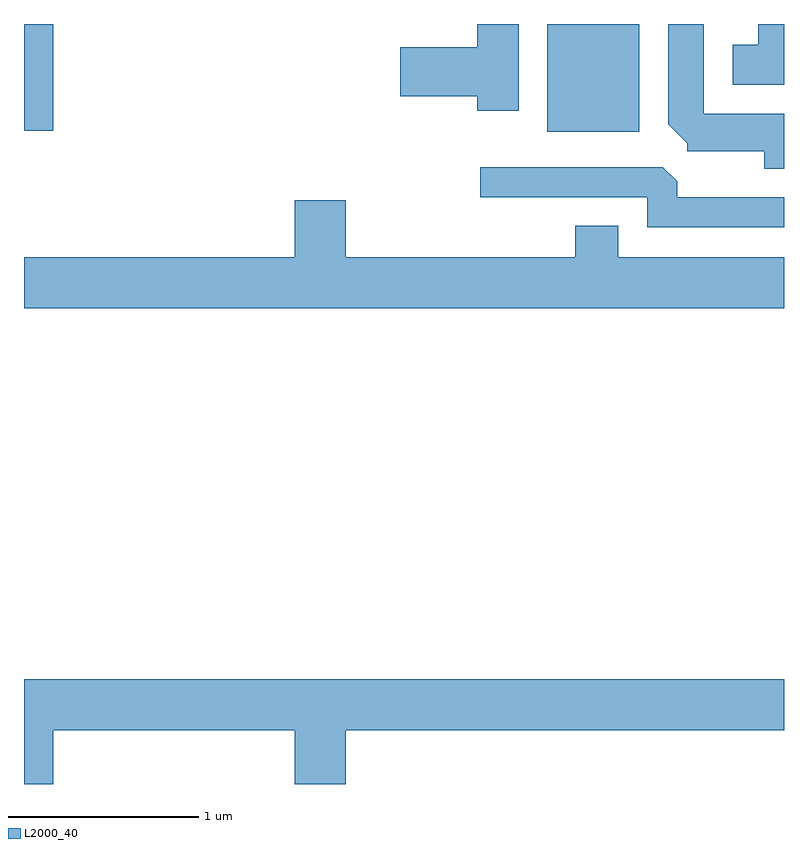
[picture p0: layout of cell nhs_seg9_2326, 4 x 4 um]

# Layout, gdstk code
import gdstk
lib = gdstk.Library(unit=1e-6, precision=1e-09)
def R(c, l, rs):  # rectangles x0, y0, x1, y1
    for r in rs: c.add(gdstk.rectangle(r[:2], r[2:], *l))
def P(c, l, *ps):  # polygons
    for p in ps: c.add(gdstk.Polygon(p, *l))
L2000_40 = (2000, 40)

nhs_seg9_2326 = lib.new_cell('nhs_seg9_2326')
R(nhs_seg9_2326, L2000_40, [(256.366,1983.866,256.849,1984.432), (253.611,1983.871,253.764,1984.432)])
P(nhs_seg9_2326, L2000_40, [(257.611,1983.959),(257.189,1983.959),(257.189,1984.432),(257.001,1984.432),(257.001,1983.904),(257.101,1983.804),(257.101,1983.761),(257.506,1983.761),(257.506,1983.671),(257.611,1983.671)],
  [(257.611,1984.432),(257.476,1984.432),(257.476,1984.324),(257.341,1984.324),(257.341,1984.111),(257.611,1984.111)],
  [(256.214,1984.432),(255.996,1984.432),(255.996,1984.309),(255.591,1984.309),(255.591,1984.051),(255.996,1984.051),(255.996,1983.976),(256.214,1983.976)],
  [(257.611,1983.519),(257.049,1983.519),(257.049,1983.604),(256.974,1983.679),(256.013,1983.679),(256.013,1983.521),(256.891,1983.521),(256.891,1983.361),(257.611,1983.361)],
  [(257.611,1983.204),(256.739,1983.204),(256.739,1983.369),(256.511,1983.369),(256.511,1983.204),(255.304,1983.204),(255.304,1983.504),(255.036,1983.504),(255.036,1983.204),(253.611,1983.204),(253.611,1982.936),(257.611,1982.936)],
  [(253.764,1980.716),(255.036,1980.716),(255.036,1980.432),(255.304,1980.432),(255.304,1980.716),(257.611,1980.716),(257.611,1980.984),(253.611,1980.984),(253.611,1980.432),(253.764,1980.432)])

lib.write_gds('nhs_seg9_2326.gds')
